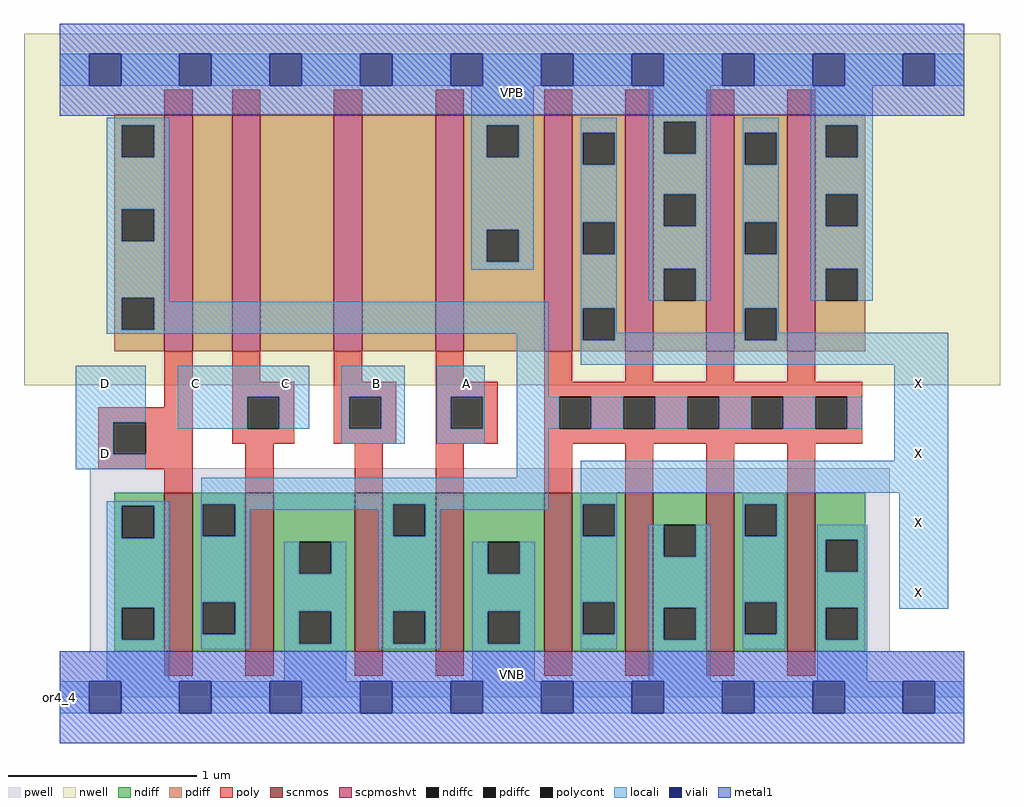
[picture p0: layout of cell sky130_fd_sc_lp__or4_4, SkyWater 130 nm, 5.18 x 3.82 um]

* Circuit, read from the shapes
.subckt sky130_fd_sc_lp__or4_4 A B C D VGND VNB VPB VPWR X
XM1 n1 D VGND VNB sky130_fd_pr__nfet_01v8 w=0.84 l=0.15
XM2 VGND C n1 VNB sky130_fd_pr__nfet_01v8 w=0.84 l=0.15
XM3 n1 B VGND VNB sky130_fd_pr__nfet_01v8 w=0.84 l=0.15
XM4 VGND A n1 VNB sky130_fd_pr__nfet_01v8 w=0.84 l=0.15
XM5 X n1 VGND VNB sky130_fd_pr__nfet_01v8 w=0.84 l=0.15 m=4
XM6 n2 D n1 VPB sky130_fd_pr__pfet_01v8_hvt w=1.26 l=0.15
XM7 n3 C n2 VPB sky130_fd_pr__pfet_01v8_hvt w=1.26 l=0.15
XM8 n4 B n3 VPB sky130_fd_pr__pfet_01v8_hvt w=1.26 l=0.15
XM9 VPWR A n4 VPB sky130_fd_pr__pfet_01v8_hvt w=1.26 l=0.15
XM10 X n1 VPWR VPB sky130_fd_pr__pfet_01v8_hvt w=1.26 l=0.15 m=4
.ends

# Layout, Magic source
magic
tech sky130A
magscale 1 2
<< nwell >>
rect -38 331 998 704
<< pwell >>
rect 32 49 881 243
rect 0 0 960 49
<< scnmos >>
rect 111 49 141 217
rect 197 49 227 217
rect 313 49 343 217
rect 399 49 429 217
rect 514 49 544 217
rect 600 49 630 217
rect 686 49 716 217
rect 772 49 802 217
<< scpmoshvt >>
rect 111 367 141 619
rect 183 367 213 619
rect 291 367 321 619
rect 399 367 429 619
rect 514 367 544 619
rect 600 367 630 619
rect 686 367 716 619
rect 772 367 802 619
<< ndiff >>
rect 58 203 111 217
rect 58 169 66 203
rect 100 169 111 203
rect 58 95 111 169
rect 58 61 66 95
rect 100 61 111 95
rect 58 49 111 61
rect 141 205 197 217
rect 141 171 152 205
rect 186 171 197 205
rect 141 101 197 171
rect 141 67 152 101
rect 186 67 197 101
rect 141 49 197 67
rect 227 165 313 217
rect 227 131 254 165
rect 288 131 313 165
rect 227 91 313 131
rect 227 57 254 91
rect 288 57 313 91
rect 227 49 313 57
rect 343 205 399 217
rect 343 171 354 205
rect 388 171 399 205
rect 343 91 399 171
rect 343 57 354 91
rect 388 57 399 91
rect 343 49 399 57
rect 429 165 514 217
rect 429 131 454 165
rect 488 131 514 165
rect 429 91 514 131
rect 429 57 454 91
rect 488 57 514 91
rect 429 49 514 57
rect 544 205 600 217
rect 544 171 555 205
rect 589 171 600 205
rect 544 101 600 171
rect 544 67 555 101
rect 589 67 600 101
rect 544 49 600 67
rect 630 183 686 217
rect 630 149 641 183
rect 675 149 686 183
rect 630 95 686 149
rect 630 61 641 95
rect 675 61 686 95
rect 630 49 686 61
rect 716 205 772 217
rect 716 171 727 205
rect 761 171 772 205
rect 716 101 772 171
rect 716 67 727 101
rect 761 67 772 101
rect 716 49 772 67
rect 802 167 855 217
rect 802 133 813 167
rect 847 133 855 167
rect 802 95 855 133
rect 802 61 813 95
rect 847 61 855 95
rect 802 49 855 61
<< pdiff >>
rect 58 607 111 619
rect 58 573 66 607
rect 100 573 111 607
rect 58 518 111 573
rect 58 484 66 518
rect 100 484 111 518
rect 58 424 111 484
rect 58 390 66 424
rect 100 390 111 424
rect 58 367 111 390
rect 141 367 183 619
rect 213 367 291 619
rect 321 367 399 619
rect 429 607 514 619
rect 429 573 453 607
rect 487 573 514 607
rect 429 496 514 573
rect 429 462 453 496
rect 487 462 514 496
rect 429 367 514 462
rect 544 599 600 619
rect 544 565 555 599
rect 589 565 600 599
rect 544 504 600 565
rect 544 470 555 504
rect 589 470 600 504
rect 544 413 600 470
rect 544 379 555 413
rect 589 379 600 413
rect 544 367 600 379
rect 630 611 686 619
rect 630 577 641 611
rect 675 577 686 611
rect 630 534 686 577
rect 630 500 641 534
rect 675 500 686 534
rect 630 455 686 500
rect 630 421 641 455
rect 675 421 686 455
rect 630 367 686 421
rect 716 599 772 619
rect 716 565 727 599
rect 761 565 772 599
rect 716 504 772 565
rect 716 470 727 504
rect 761 470 772 504
rect 716 413 772 470
rect 716 379 727 413
rect 761 379 772 413
rect 716 367 772 379
rect 802 607 855 619
rect 802 573 813 607
rect 847 573 855 607
rect 802 534 855 573
rect 802 500 813 534
rect 847 500 855 534
rect 802 455 855 500
rect 802 421 813 455
rect 847 421 855 455
rect 802 367 855 421
<< ndiffc >>
rect 66 169 100 203
rect 66 61 100 95
rect 152 171 186 205
rect 152 67 186 101
rect 254 131 288 165
rect 254 57 288 91
rect 354 171 388 205
rect 354 57 388 91
rect 454 131 488 165
rect 454 57 488 91
rect 555 171 589 205
rect 555 67 589 101
rect 641 149 675 183
rect 641 61 675 95
rect 727 171 761 205
rect 727 67 761 101
rect 813 133 847 167
rect 813 61 847 95
<< pdiffc >>
rect 66 573 100 607
rect 66 484 100 518
rect 66 390 100 424
rect 453 573 487 607
rect 453 462 487 496
rect 555 565 589 599
rect 555 470 589 504
rect 555 379 589 413
rect 641 577 675 611
rect 641 500 675 534
rect 641 421 675 455
rect 727 565 761 599
rect 727 470 761 504
rect 727 379 761 413
rect 813 573 847 607
rect 813 500 847 534
rect 813 421 847 455
<< poly >>
rect 111 619 141 645
rect 183 619 213 645
rect 291 619 321 645
rect 399 619 429 645
rect 514 619 544 645
rect 600 619 630 645
rect 686 619 716 645
rect 772 619 802 645
rect 111 308 141 367
rect 41 292 141 308
rect 41 258 57 292
rect 91 258 141 292
rect 183 335 213 367
rect 291 335 321 367
rect 399 335 429 367
rect 514 335 544 367
rect 600 335 630 367
rect 686 335 716 367
rect 772 335 802 367
rect 183 319 249 335
rect 183 285 199 319
rect 233 285 249 319
rect 183 269 249 285
rect 291 319 357 335
rect 291 285 307 319
rect 341 285 357 319
rect 291 269 357 285
rect 399 319 465 335
rect 399 285 415 319
rect 449 285 465 319
rect 399 269 465 285
rect 514 319 852 335
rect 514 285 530 319
rect 564 285 598 319
rect 632 285 666 319
rect 700 285 734 319
rect 768 285 802 319
rect 836 285 852 319
rect 514 269 852 285
rect 41 242 141 258
rect 111 217 141 242
rect 197 217 227 269
rect 313 217 343 269
rect 399 217 429 269
rect 514 217 544 269
rect 600 217 630 269
rect 686 217 716 269
rect 772 217 802 269
rect 111 23 141 49
rect 197 23 227 49
rect 313 23 343 49
rect 399 23 429 49
rect 514 23 544 49
rect 600 23 630 49
rect 686 23 716 49
rect 772 23 802 49
<< polycont >>
rect 57 258 91 292
rect 199 285 233 319
rect 307 285 341 319
rect 415 285 449 319
rect 530 285 564 319
rect 598 285 632 319
rect 666 285 700 319
rect 734 285 768 319
rect 802 285 836 319
<< locali >>
rect 0 649 31 683
rect 65 649 127 683
rect 161 649 223 683
rect 257 649 319 683
rect 353 649 415 683
rect 449 649 511 683
rect 545 649 607 683
rect 641 649 703 683
rect 737 649 799 683
rect 833 649 895 683
rect 929 649 960 683
rect 50 607 116 615
rect 50 573 66 607
rect 100 573 116 607
rect 50 518 116 573
rect 50 484 66 518
rect 100 484 116 518
rect 50 424 116 484
rect 437 607 503 649
rect 437 573 453 607
rect 487 573 503 607
rect 437 496 503 573
rect 437 462 453 496
rect 487 462 503 496
rect 437 454 503 462
rect 553 599 591 615
rect 553 565 555 599
rect 589 565 591 599
rect 553 504 591 565
rect 553 470 555 504
rect 589 470 591 504
rect 50 390 66 424
rect 100 420 116 424
rect 100 390 519 420
rect 50 386 519 390
rect 17 292 91 352
rect 17 258 57 292
rect 125 319 265 352
rect 125 285 199 319
rect 233 285 265 319
rect 299 319 366 352
rect 299 285 307 319
rect 341 285 366 319
rect 299 269 366 285
rect 400 319 451 352
rect 400 285 415 319
rect 449 285 451 319
rect 400 269 451 285
rect 485 319 519 386
rect 553 413 591 470
rect 625 611 691 649
rect 625 577 641 611
rect 675 577 691 611
rect 625 534 691 577
rect 625 500 641 534
rect 675 500 691 534
rect 625 455 691 500
rect 625 421 641 455
rect 675 421 691 455
rect 725 599 763 615
rect 725 565 727 599
rect 761 565 763 599
rect 725 504 763 565
rect 725 470 727 504
rect 761 470 763 504
rect 553 379 555 413
rect 589 387 591 413
rect 725 413 763 470
rect 797 607 863 649
rect 797 573 813 607
rect 847 573 863 607
rect 797 534 863 573
rect 797 500 813 534
rect 847 500 863 534
rect 797 455 863 500
rect 797 421 813 455
rect 847 421 863 455
rect 725 387 727 413
rect 589 379 727 387
rect 761 387 763 413
rect 761 379 943 387
rect 553 353 943 379
rect 485 285 530 319
rect 564 285 598 319
rect 632 285 666 319
rect 700 285 734 319
rect 768 285 802 319
rect 836 285 852 319
rect 17 242 91 258
rect 485 233 519 285
rect 886 251 943 353
rect 50 203 116 208
rect 50 169 66 203
rect 100 169 116 203
rect 50 95 116 169
rect 50 61 66 95
rect 100 61 116 95
rect 50 17 116 61
rect 150 205 519 233
rect 150 171 152 205
rect 186 199 354 205
rect 186 171 202 199
rect 150 101 202 171
rect 338 171 354 199
rect 388 199 519 205
rect 553 217 943 251
rect 553 205 591 217
rect 388 171 404 199
rect 150 67 152 101
rect 186 67 202 101
rect 150 51 202 67
rect 238 131 254 165
rect 288 131 304 165
rect 238 91 304 131
rect 238 57 254 91
rect 288 57 304 91
rect 238 17 304 57
rect 338 91 404 171
rect 553 171 555 205
rect 589 171 591 205
rect 725 205 770 217
rect 338 57 354 91
rect 388 57 404 91
rect 338 51 404 57
rect 438 131 454 165
rect 488 131 504 165
rect 438 91 504 131
rect 438 57 454 91
rect 488 57 504 91
rect 438 17 504 57
rect 553 101 591 171
rect 553 67 555 101
rect 589 67 591 101
rect 553 51 591 67
rect 625 149 641 183
rect 675 149 691 183
rect 625 95 691 149
rect 625 61 641 95
rect 675 61 691 95
rect 625 17 691 61
rect 725 171 727 205
rect 761 171 770 205
rect 725 101 770 171
rect 725 67 727 101
rect 761 67 770 101
rect 725 51 770 67
rect 804 167 857 183
rect 804 133 813 167
rect 847 133 857 167
rect 804 95 857 133
rect 804 61 813 95
rect 847 61 857 95
rect 891 94 943 217
rect 804 17 857 61
rect 0 -17 31 17
rect 65 -17 127 17
rect 161 -17 223 17
rect 257 -17 319 17
rect 353 -17 415 17
rect 449 -17 511 17
rect 545 -17 607 17
rect 641 -17 703 17
rect 737 -17 799 17
rect 833 -17 895 17
rect 929 -17 960 17
<< viali >>
rect 31 649 65 683
rect 127 649 161 683
rect 223 649 257 683
rect 319 649 353 683
rect 415 649 449 683
rect 511 649 545 683
rect 607 649 641 683
rect 703 649 737 683
rect 799 649 833 683
rect 895 649 929 683
rect 31 -17 65 17
rect 127 -17 161 17
rect 223 -17 257 17
rect 319 -17 353 17
rect 415 -17 449 17
rect 511 -17 545 17
rect 607 -17 641 17
rect 703 -17 737 17
rect 799 -17 833 17
rect 895 -17 929 17
<< metal1 >>
rect 0 683 960 715
rect 0 649 31 683
rect 65 649 127 683
rect 161 649 223 683
rect 257 649 319 683
rect 353 649 415 683
rect 449 649 511 683
rect 545 649 607 683
rect 641 649 703 683
rect 737 649 799 683
rect 833 649 895 683
rect 929 649 960 683
rect 0 617 960 649
rect 0 17 960 49
rect 0 -17 31 17
rect 65 -17 127 17
rect 161 -17 223 17
rect 257 -17 319 17
rect 353 -17 415 17
rect 449 -17 511 17
rect 545 -17 607 17
rect 641 -17 703 17
rect 737 -17 799 17
rect 833 -17 895 17
rect 929 -17 960 17
rect 0 -49 960 -17
<< labels >>
flabel pwell s 0 0 960 49 0 FreeSans 200 0 0 0 VNB
port 6 nsew ground bidirectional
flabel nwell s 0 617 960 666 0 FreeSans 200 0 0 0 VPB
port 7 nsew power bidirectional
rlabel comment s 0 0 0 0 4 or4_4
flabel metal1 s 0 617 960 666 0 FreeSans 340 0 0 0 VPWR
port 8 nsew power bidirectional
flabel metal1 s 0 0 960 49 0 FreeSans 340 0 0 0 VGND
port 5 nsew ground bidirectional
flabel locali s 415 316 449 350 0 FreeSans 340 0 0 0 A
port 1 nsew signal input
flabel locali s 319 316 353 350 0 FreeSans 340 0 0 0 B
port 2 nsew signal input
flabel locali s 127 316 161 350 0 FreeSans 340 0 0 0 C
port 3 nsew signal input
flabel locali s 223 316 257 350 0 FreeSans 340 0 0 0 C
port 3 nsew signal input
flabel locali s 895 94 929 128 0 FreeSans 340 0 0 0 X
port 9 nsew signal output
flabel locali s 895 168 929 202 0 FreeSans 340 0 0 0 X
port 9 nsew signal output
flabel locali s 895 242 929 276 0 FreeSans 340 0 0 0 X
port 9 nsew signal output
flabel locali s 895 316 929 350 0 FreeSans 340 0 0 0 X
port 9 nsew signal output
flabel locali s 31 242 65 276 0 FreeSans 340 0 0 0 D
port 4 nsew signal input
flabel locali s 31 316 65 350 0 FreeSans 340 0 0 0 D
port 4 nsew signal input
<< properties >>
string LEFsite unit
string LEFclass CORE
string FIXED_BBOX 0 0 960 666
string GDS_FILE $PDKPATH/libs.ref/sky130_fd_sc_lp/gds/sky130_fd_sc_lp.gds
string LEFsymmetry X Y R90
string GDS_END 287008
string GDS_START 278552
<< end >>
